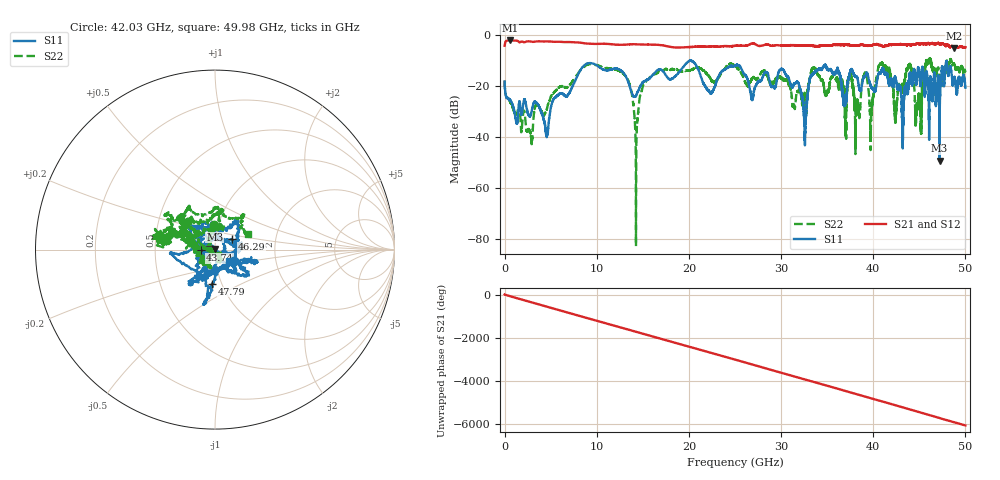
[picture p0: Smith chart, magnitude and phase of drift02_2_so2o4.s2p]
!Created with skrf (http://scikit-rf.org).
# Hz S RI R 50.0
!freq ReS11 ImS11 ReS21 ImS21 ReS12 ImS12 ReS22 ImS22
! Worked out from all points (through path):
!   10001 points, 300 kHz to 50 GHz, reference 50 ohm
!   highest |S21| = -2.00 dB at 555.3 MHz (marker M1); lowest = -4.9 dB at 48.77 GHz (marker M2)
!   group delay of S21, straight-line fit = 337 ps
!   lowest |S11| = -49.3 dB at 47.2 GHz (marker M3), VSWR 1.01, Z = 49.8 + j0.308 ohm
!   |S11| at or under -10 dB: start of sweep to 20.06 GHz; 20.08393 GHz to 20.08612 GHz (2.187 MHz wide, 0.0109 % of centre); 20.25 GHz to end of sweep (the widest 3 of 6)
!   |S22| runs from -82.9 to -9.0 dB; largest |S21 - S12| = 0.032
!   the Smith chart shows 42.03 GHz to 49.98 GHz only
!   S11 on the Smith chart (normalised r, x): 42.03 GHz: 1.23, -0.16; 43.74 GHz: 0.85, -0.00; 46.29 GHz: 1.20, +0.14; 47.79 GHz: 0.90, -0.35; 49.98 GHz: 1.16, -0.15
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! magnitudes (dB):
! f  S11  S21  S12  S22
! 300 kHz  -18.2  -4.1  -4.0  -17.7
! 555.3 MHz  -25.1  -2.0  -2.0  -25.9
! 4.565 GHz  -39.8  -2.4  -2.4  -29.2
! 8.335 GHz  -13.0  -2.9  -2.9  -13.3
! 13.05 GHz  -15.4  -3.7  -3.7  -15.7
! 14.28 GHz  -23.6  -3.5  -3.5  -49.2
! 16.67 GHz  -13.4  -3.7  -3.7  -14.5
! 25 GHz  -12.0  -4.1  -4.1  -12.0
! 30.16 GHz  -13.4  -4.1  -4.1  -17.3
! 32.56 GHz  -39.9  -3.9  -3.9  -25.7
! 33.34 GHz  -15.8  -4.1  -4.1  -13.4
! 38.28 GHz  -17.0  -3.9  -3.9  -26.0
! 41.67 GHz  -18.4  -3.8  -3.9  -13.1
! 42.03 GHz  -18.1  -3.7  -3.7  -17.3
! 43.74 GHz  -21.9  -3.8  -3.8  -12.9
! 44.76 GHz  -16.1  -3.3  -3.3  -28.1
! 46.29 GHz  -19.1  -3.2  -3.2  -11.5
! 47.2 GHz  -49.3  -3.5  -3.4  -16.8
! 47.79 GHz  -14.4  -3.8  -3.8  -15.0
! 48.77 GHz  -17.2  -4.9  -4.8  -11.1
! 49.98 GHz  -19.8  -4.6  -4.6  -13.9
! 50 GHz  -20.6  -4.7  -4.7  -14.5
